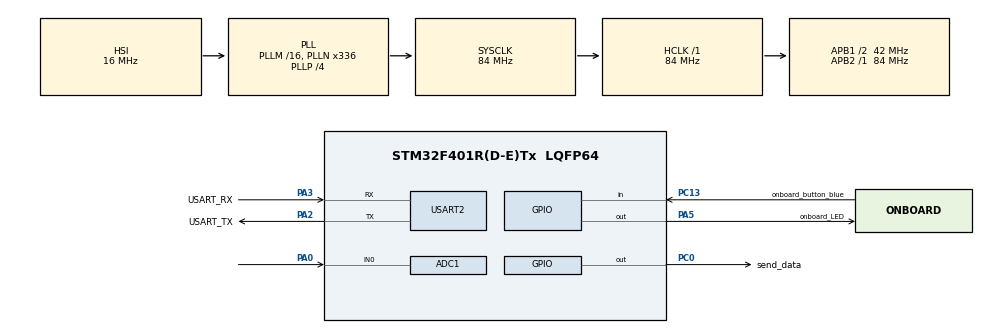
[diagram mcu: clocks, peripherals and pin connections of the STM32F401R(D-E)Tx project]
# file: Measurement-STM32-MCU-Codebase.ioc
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ADC1.Channel-0\#ChannelRegularConversion=ADC_CHANNEL_0
ADC1.ContinuousConvMode=ENABLE
ADC1.NbrOfConversionFlag=1
ADC1.Rank-0\#ChannelRegularConversion=1
ADC1.SamplingTime-0\#ChannelRegularConversion=ADC_SAMPLETIME_3CYCLES
ADC1.master=1
Mcu.Family=STM32F4
Mcu.Name=STM32F401R(D-E)Tx
Mcu.Package=LQFP64
NVIC.PriorityGroup=NVIC_PRIORITYGROUP_0
PA0-WKUP.Signal=ADCx_IN0
PA13.GPIO_Label=TMS
PA13.Mode=Serial_Wire
PA13.Signal=SYS_JTMS-SWDIO
PA14.GPIO_Label=TCK
PA14.Mode=Serial_Wire
PA14.Signal=SYS_JTCK-SWCLK
PA2.GPIO_Label=USART_TX
PA2.GPIO_Mode=GPIO_MODE_AF_PP
PA2.GPIO_PuPd=GPIO_NOPULL
PA2.GPIO_Speed=GPIO_SPEED_FREQ_LOW
PA2.Mode=Asynchronous
PA2.Signal=USART2_TX
PA3.GPIO_Label=USART_RX
PA3.GPIO_Mode=GPIO_MODE_AF_PP
PA3.GPIO_PuPd=GPIO_NOPULL
PA3.GPIO_Speed=GPIO_SPEED_FREQ_LOW
PA3.Mode=Asynchronous
PA3.Signal=USART2_RX
PA5.GPIO_Label=onboard_LED
PA5.Signal=GPIO_Output
PB3.GPIO_Label=SWO
PB3.Signal=SYS_JTDO-SWO
PC0.GPIO_Label=send_data
PC0.Signal=GPIO_Output
PC13-ANTI_TAMP.GPIO_Label=onboard_button_blue
PC13-ANTI_TAMP.Signal=GPIO_Input
PC14-OSC32_IN.Mode=LSE-External-Oscillator
PC14-OSC32_IN.Signal=RCC_OSC32_IN
PC15-OSC32_OUT.Mode=LSE-External-Oscillator
PC15-OSC32_OUT.Signal=RCC_OSC32_OUT
PH0\ -\ OSC_IN.Mode=HSE-External-Clock-Source
PH0\ -\ OSC_IN.Signal=RCC_OSC_IN
PH1\ -\ OSC_OUT.Mode=HSE-External-Clock-Source
PH1\ -\ OSC_OUT.Signal=RCC_OSC_OUT
ProjectManager.HeapSize=0x200
ProjectManager.StackSize=0x400
ProjectManager.TargetToolchain=STM32CubeIDE
RCC.48MHZClocksFreq_Value=48000000
RCC.AHBFreq_Value=84000000
RCC.APB1CLKDivider=RCC_HCLK_DIV2
RCC.APB1Freq_Value=42000000
RCC.APB1TimFreq_Value=84000000
RCC.APB2Freq_Value=84000000
RCC.APB2TimFreq_Value=84000000
RCC.CortexFreq_Value=84000000
RCC.HCLKFreq_Value=84000000
RCC.HSE_VALUE=8000000
RCC.HSI_VALUE=16000000
RCC.PLLN=336
RCC.PLLP=RCC_PLLP_DIV4
RCC.PLLQ=7
RCC.SYSCLKFreq_VALUE=84000000
RCC.SYSCLKSource=RCC_SYSCLKSOURCE_PLLCLK
RCC.VCOOutputFreq_Value=336000000
SH.ADCx_IN0.0=ADC1_IN0,IN0
USART2.VirtualMode=VM_ASYNC
board=NUCLEO-F401RE

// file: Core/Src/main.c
/* USER CODE BEGIN Header */
/**
  ******************************************************************************
  * @file           : main.c
  * @brief          : Main program body
  ******************************************************************************
  * @attention
  *
  * Copyright (c) 2024 STMicroelectronics.
  * All rights reserved.
  *
  * This software is licensed under terms that can be found in the LICENSE file
  * in the root directory of this software component.
  * If no LICENSE file comes with this software, it is provided AS-IS.
  *
  ******************************************************************************
  */
/* USER CODE END Header */
#include "main.h"

/* USER CODE BEGIN Includes */

#include <math.h>

/* USER CODE END Includes */

ADC_HandleTypeDef hadc1;

UART_HandleTypeDef huart2;

void SystemClock_Config(void);
static void MX_GPIO_Init(void);
static void MX_USART2_UART_Init(void);
static void MX_ADC1_Init(void);

/* USER CODE BEGIN 0 */

float convertResistanceToTemperature(float R_therm) {
    // Example conversion using the Steinhart-Hart equation or a lookup table
    float A = 1.009249522e-03;
    float B = 2.378405444e-04;
    float C = 2.019202697e-07;

    float logR = log(R_therm);
    float tempK = 1.0 / (A + B * logR + C * logR * logR * logR); // Temperature in Kelvin
    float tempC = tempK - 273.15; // Convert to Celsius
    return tempC;
}

float readTemperature(void) {
    uint32_t adcValue;

    // Start the ADC and poll for conversion
    HAL_ADC_Start(&hadc1);
    HAL_ADC_PollForConversion(&hadc1, HAL_MAX_DELAY);
    adcValue = HAL_ADC_GetValue(&hadc1);

    float temperature = 0;

    // Convert the ADC value to voltage
    float voltage = (3.3 * adcValue) / 4095.0;

    // Calculate thermistor resistance from voltage divider
    float R_fixed = 10000.0; // 10k ohms
    float R_therm = R_fixed * ((3.3 / voltage) - 1);

    // Convert resistance to temperature (using an approximation or datasheet values)
    temperature = convertResistanceToTemperature(R_therm);
    return temperature;
}

void sendData(GPIO_TypeDef* GPIOx, uint16_t GPIO_Pin, int value, int clockDelay) {
	/*
	 * Iterates through all bits of a given value.
	 *
	 * If the bit is a one, the provided GPIO pin
	 * will be set to 3.3v for one clock cycle.
	 *
	 * If the bit is a zero, the provided GPIO pin
	 * will be set to 0v for one clock cycle.
	 *
	 * Note: This sends the least significant bit first,
	 *       and the most significant bit last
	 *
	 *       So 0b1010 will be sent like:
	 *       1: 0
	 *       2: 1
	 *       3: 0
	 *       4: 1
	 */

	const int MASK = 1;

	// Start Bit
	HAL_GPIO_WritePin(GPIOx, GPIO_Pin, 0);
	HAL_Delay(clockDelay);

	// Data Bits
	for(int i = 0; i < 8; i++) {
		HAL_GPIO_WritePin(GPIOx, GPIO_Pin, value & MASK);
		value >>= 1;
		HAL_Delay(clockDelay);
	}

	// End Bit
	HAL_GPIO_WritePin(GPIOx, GPIO_Pin, 1);
	HAL_Delay(clockDelay);
}

/* USER CODE END 0 */

int main(void)
{

  /* MCU Configuration--------------------------------------------------------*/

  /* Reset of all peripherals, Initializes the Flash interface and the Systick. */
  HAL_Init();

  /* Configure the system clock */
  SystemClock_Config();

  /* Initialize all configured peripherals */
  MX_GPIO_Init();
  MX_USART2_UART_Init();
  MX_ADC1_Init();
  /* USER CODE BEGIN 2 */

  const int clockDelay = 100;
  const char msg[20];

  // Prevents false data reading on startup or restart
  sendData(send_data_GPIO_Port, send_data_Pin, 0xFF, clockDelay);
  HAL_ADC_Start(&hadc1);
  uint16_t ADC_Value;
  /* USER CODE END 2 */

  /* Infinite loop */
  /* USER CODE BEGIN WHILE */
  while (1)
  {

	  // TODO: Add sensor code above data sending code.

	  /*
	   * The code below will send the number 0b10101010
	   * whenever the button is clicked.
	   */
	  int temperature_final = (int) readTemperature();
	  HAL_GPIO_WritePin(onboard_LED_GPIO_Port, onboard_LED_Pin, 1);
	  if(HAL_GPIO_ReadPin(onboard_button_blue_GPIO_Port, onboard_button_blue_Pin) == 1) continue;
	  sendData(send_data_GPIO_Port, send_data_Pin, temperature_final, clockDelay);

	  // Debug Tool for reading temperature value.
//	  sprintf(msg, "%u\r\n", temperature_final);
//	  HAL_UART_Transmit(&huart2, (uint32_t*)msg, strlen(msg), HAL_MAX_DELAY);

    /* USER CODE END WHILE */

  }
}

void SystemClock_Config(void)
{
  RCC_OscInitTypeDef RCC_OscInitStruct = {0};
  RCC_ClkInitTypeDef RCC_ClkInitStruct = {0};

  /** Configure the main internal regulator output voltage
  */
  __HAL_RCC_PWR_CLK_ENABLE();
  __HAL_PWR_VOLTAGESCALING_CONFIG(PWR_REGULATOR_VOLTAGE_SCALE2);

  /** Initializes the RCC Oscillators according to the specified parameters
  * in the RCC_OscInitTypeDef structure.
  */
  RCC_OscInitStruct.OscillatorType = RCC_OSCILLATORTYPE_HSI;
  RCC_OscInitStruct.HSIState = RCC_HSI_ON;
  RCC_OscInitStruct.HSICalibrationValue = RCC_HSICALIBRATION_DEFAULT;
  RCC_OscInitStruct.PLL.PLLState = RCC_PLL_ON;
  RCC_OscInitStruct.PLL.PLLSource = RCC_PLLSOURCE_HSI;
  RCC_OscInitStruct.PLL.PLLM = 16;
  RCC_OscInitStruct.PLL.PLLN = 336;
  RCC_OscInitStruct.PLL.PLLP = RCC_PLLP_DIV4;
  RCC_OscInitStruct.PLL.PLLQ = 7;
  if (HAL_RCC_OscConfig(&RCC_OscInitStruct) != HAL_OK)
  {
    Error_Handler();
  }

  /** Initializes the CPU, AHB and APB buses clocks
  */
  RCC_ClkInitStruct.ClockType = RCC_CLOCKTYPE_HCLK|RCC_CLOCKTYPE_SYSCLK
                              |RCC_CLOCKTYPE_PCLK1|RCC_CLOCKTYPE_PCLK2;
  RCC_ClkInitStruct.SYSCLKSource = RCC_SYSCLKSOURCE_PLLCLK;
  RCC_ClkInitStruct.AHBCLKDivider = RCC_SYSCLK_DIV1;
  RCC_ClkInitStruct.APB1CLKDivider = RCC_HCLK_DIV2;
  RCC_ClkInitStruct.APB2CLKDivider = RCC_HCLK_DIV1;

  if (HAL_RCC_ClockConfig(&RCC_ClkInitStruct, FLASH_LATENCY_2) != HAL_OK)
  {
    Error_Handler();
  }
}

static void MX_ADC1_Init(void)
{

  ADC_ChannelConfTypeDef sConfig = {0};

  /** Configure the global features of the ADC (Clock, Resolution, Data Alignment and number of conversion)
  */
  hadc1.Instance = ADC1;
  hadc1.Init.ClockPrescaler = ADC_CLOCK_SYNC_PCLK_DIV4;
  hadc1.Init.Resolution = ADC_RESOLUTION_12B;
  hadc1.Init.ScanConvMode = DISABLE;
  hadc1.Init.ContinuousConvMode = ENABLE;
  hadc1.Init.DiscontinuousConvMode = DISABLE;
  hadc1.Init.ExternalTrigConvEdge = ADC_EXTERNALTRIGCONVEDGE_NONE;
  hadc1.Init.ExternalTrigConv = ADC_SOFTWARE_START;
  hadc1.Init.DataAlign = ADC_DATAALIGN_RIGHT;
  hadc1.Init.NbrOfConversion = 1;
  hadc1.Init.DMAContinuousRequests = DISABLE;
  hadc1.Init.EOCSelection = ADC_EOC_SINGLE_CONV;
  if (HAL_ADC_Init(&hadc1) != HAL_OK)
  {
    Error_Handler();
  }

  /** Configure for the selected ADC regular channel its corresponding rank in the sequencer and its sample time.
  */
  sConfig.Channel = ADC_CHANNEL_0;
  sConfig.Rank = 1;
  sConfig.SamplingTime = ADC_SAMPLETIME_3CYCLES;
  if (HAL_ADC_ConfigChannel(&hadc1, &sConfig) != HAL_OK)
  {
    Error_Handler();
  }

}

static void MX_USART2_UART_Init(void)
{

  huart2.Instance = USART2;
  huart2.Init.BaudRate = 115200;
  huart2.Init.WordLength = UART_WORDLENGTH_8B;
  huart2.Init.StopBits = UART_STOPBITS_1;
  huart2.Init.Parity = UART_PARITY_NONE;
  huart2.Init.Mode = UART_MODE_TX_RX;
  huart2.Init.HwFlowCtl = UART_HWCONTROL_NONE;
  huart2.Init.OverSampling = UART_OVERSAMPLING_16;
  if (HAL_UART_Init(&huart2) != HAL_OK)
  {
    Error_Handler();
  }

}

static void MX_GPIO_Init(void)
{
  GPIO_InitTypeDef GPIO_InitStruct = {0};

  /* GPIO Ports Clock Enable */
  __HAL_RCC_GPIOC_CLK_ENABLE();
  __HAL_RCC_GPIOH_CLK_ENABLE();
  __HAL_RCC_GPIOA_CLK_ENABLE();
  __HAL_RCC_GPIOB_CLK_ENABLE();

  /*Configure GPIO pin Output Level */
  HAL_GPIO_WritePin(send_data_GPIO_Port, send_data_Pin, GPIO_PIN_RESET);

  /*Configure GPIO pin Output Level */
  HAL_GPIO_WritePin(onboard_LED_GPIO_Port, onboard_LED_Pin, GPIO_PIN_RESET);

  /*Configure GPIO pin : onboard_button_blue_Pin */
  GPIO_InitStruct.Pin = onboard_button_blue_Pin;
  GPIO_InitStruct.Mode = GPIO_MODE_INPUT;
  GPIO_InitStruct.Pull = GPIO_NOPULL;
  HAL_GPIO_Init(onboard_button_blue_GPIO_Port, &GPIO_InitStruct);

  /*Configure GPIO pin : send_data_Pin */
  GPIO_InitStruct.Pin = send_data_Pin;
  GPIO_InitStruct.Mode = GPIO_MODE_OUTPUT_PP;
  GPIO_InitStruct.Pull = GPIO_NOPULL;
  GPIO_InitStruct.Speed = GPIO_SPEED_FREQ_LOW;
  HAL_GPIO_Init(send_data_GPIO_Port, &GPIO_InitStruct);

  /*Configure GPIO pin : onboard_LED_Pin */
  GPIO_InitStruct.Pin = onboard_LED_Pin;
  GPIO_InitStruct.Mode = GPIO_MODE_OUTPUT_PP;
  GPIO_InitStruct.Pull = GPIO_NOPULL;
  GPIO_InitStruct.Speed = GPIO_SPEED_FREQ_LOW;
  HAL_GPIO_Init(onboard_LED_GPIO_Port, &GPIO_InitStruct);

}

void Error_Handler(void)
{
  __disable_irq();
  while (1)
  {
  }
}
